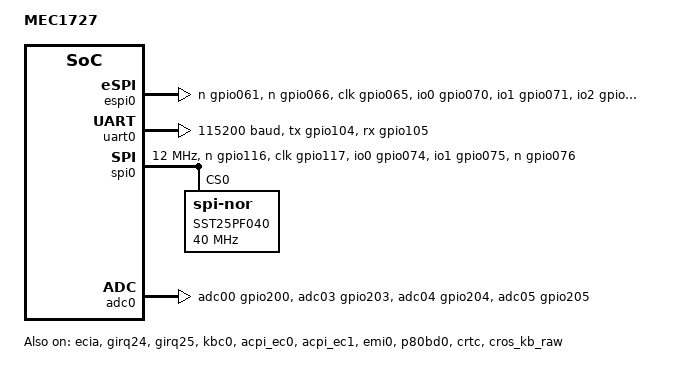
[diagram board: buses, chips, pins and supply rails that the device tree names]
/* Copyright 2022 Microchip Technology Inc. All rights reserved.
 * Use of this source code is governed by a BSD-style license that can be
 * found in the LICENSE file.
 */

/dts-v1/;

#include <cros/microchip/mec1727.dtsi>
#include <cros/thermistor/thermistor.dtsi>
#include <dt-bindings/gpio_defines.h>
#include <microchip/mec172xnsz.dtsi>
#include <microchip/mec172x/mec172xnsz-pinctrl.dtsi>

/ {
	model = "MEC1727";

	chosen {
		zephyr,sram = &sram0;
		zephyr,console = &uart0;
		zephyr,shell-uart = &uart0;
		zephyr,flash = &flash0;
		zephyr,flash-controller = &int_flash;
	};

	pinmux: pinmux {
		compatible = "microchip,xec-pinmux";

		pinmux_000_036: pinmux-0 {
			ph-reg = <&gpio_000_036>;
			port-num = <0>;
		};
		pinmux_040_076: pinmux-1 {
			ph-reg = <&gpio_040_076>;
			port-num = <1>;
		};
		pinmux_100_136: pinmux-2 {
			ph-reg = <&gpio_100_136>;
			port-num = <2>;
		};
		pinmux_140_176: pinmux-3 {
			ph-reg = <&gpio_140_176>;
			port-num = <3>;
		};
		pinmux_200_236: pinmux-4 {
			ph-reg = <&gpio_200_236>;
			port-num = <4>;
		};
		pinmux_240_276: pinmux-5 {
			ph-reg = <&gpio_240_276>;
			port-num = <5>;
		};
	};

	named-pwms {
		compatible = "named-pwms";
	};

	named-adc-channels {
		compatible = "named-adc-channels";

		adc_ddr_soc: ddr_soc {
			label = "TEMP_DDR_SOC";
			enum-name = "ADC_TEMP_SENSOR_1_DDR_SOC";
			io-channels = <&adc0 5>;
		};
		adc_ambient: ambient {
			label = "TEMP_AMBIENT";
			enum-name = "ADC_TEMP_SENSOR_2_AMBIENT";
			io-channels = <&adc0 3>;
		};
		adc_charger: charger {
			label = "TEMP_CHARGER";
			enum-name = "ADC_TEMP_SENSOR_3_CHARGER";
			io-channels = <&adc0 0>;
		};
		adc_wwan: wwan {
			label = "TEMP_WWAN";
			enum-name = "ADC_TEMP_SENSOR_4_WWAN";
			io-channels = <&adc0 4>;
		};
	};

	soc {
		/delete-node/ rtc@400f5000;
		/delete-node/ kscan@40009c00;

		crtc: cros-rtc@400f5000 {
			compatible = "microchip,xec-cros-rtc";
			reg = <0x400f5000 0x100>;
			interrupts = <119 0>, <120 0>;
			label = "CRTC";
		};

		cros_kb_raw: cros-kb-raw@40009c00 {
			compatible = "microchip,xec-cros-kb-raw";
			reg = <0x40009c00 0x18>;
			label = "CROS_KB_RAW_0";
			interrupts = <135 0>;
		};
	};
};

&cpu0 {
	status = "okay";
/* cpu-power-states = <&suspend_to_idle_instant &suspend_to_idle_normal>; */
};

&bbram {
	status = "okay";
};

&ecia {
	status = "okay";
};

/* Enable aggregated GIRQ24/25 for eSPI virtual wires */
&girq24 {
	status = "okay";
};

&girq25 {
	status = "okay";
};

&espi0 {
	status = "okay";
	pinctrl-0 = <&espi_reset_n_gpio061
		     &espi_cs_n_gpio066
		     &espi_clk_gpio065
		     &espi_io0_gpio070
		     &espi_io1_gpio071
		     &espi_io2_gpio072
		     &espi_io3_gpio073>;
	pinctrl-names = "default";
};

/* Host facing devices on eSPI bus */
&kbc0 {
	status = "okay";
};

&acpi_ec0 {
	status = "okay";
};

&acpi_ec1 {
	status = "okay";
};

&emi0 {
	status = "okay";
};

&p80bd0 {
	status = "okay";
};

&crtc {
	status = "okay";
};

&uart0 {
	status = "okay";
	current-speed = <115200>;
	pinctrl-0 = <&uart0_tx_gpio104 &uart0_rx_gpio105>;
	pinctrl-names = "default";
};

&spi0 {
	status = "okay";
	clock-frequency = <12000000>;
	lines = <2>;
	port-sel = <2>;
	chip-select = <0>;
	pinctrl-0 = < &gpspi_cs_n_gpio116
		      &gpspi_clk_gpio117
		      &gpspi_io0_gpio074
		      &gpspi_io1_gpio075
		      &gpspi_wp_n_gpio076 >;
	pinctrl-names = "default";

	int_flash: sst25pf040@0 {
		compatible ="jedec,spi-nor";
		/*  4194304 bits = 512K Bytes */
		size = <0x400000>;
		label = "SST25PF040";
		reg = <0>;
		spi-max-frequency = <40000000>;
		status = "okay";
		jedec-id = [62 06 13];
	};
};

&cros_kb_raw {
	status = "okay";
	/*
	 * No KSO2 (It's inverted and implemented by GPIO for
	 * CONFIG_KEYBOARD_COL2_INVERTED.)
	 */
	pinctrl-0 = <&ksi0_gpio017
		     &ksi1_gpio020
			 &ksi2_gpio021
		     &ksi3_gpio026
		     &ksi4_gpio027
		     &ksi5_gpio030
		     &ksi6_gpio031
		     &ksi7_gpio032
		     &kso00_gpio040
		     &kso01_gpio045
		     &kso03_gpio047
		     &kso04_gpio107
		     &kso05_gpio112
		     &kso06_gpio113
		     &kso07_gpio120
		     &kso08_gpio121
		     &kso09_gpio122
		     &kso10_gpio123
		     &kso11_gpio124
		     &kso12_gpio125>;
	pinctrl-names = "default";
};

/* Chrome design: KSI02 to H1 has not pull-up resistor */
&ksi2_gpio021 {
	bias-pull-up;
};

&adc0 {
	status = "okay";
	pinctrl-0 = <&adc00_gpio200
		     &adc03_gpio203
		     &adc04_gpio204
		     &adc05_gpio205>;
	pinctrl-names = "default";
};
